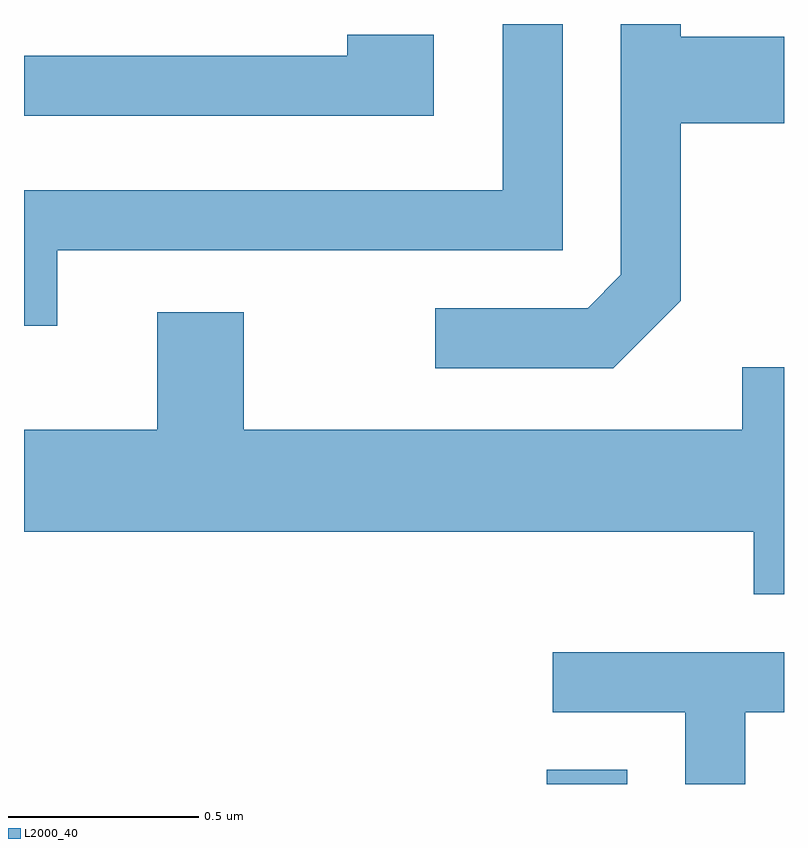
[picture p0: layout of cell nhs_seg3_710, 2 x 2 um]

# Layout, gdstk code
import gdstk
lib = gdstk.Library(unit=1e-6, precision=1e-09)
def R(c, l, rs):  # rectangles x0, y0, x1, y1
    for r in rs: c.add(gdstk.rectangle(r[:2], r[2:], *l))
def P(c, l, *ps):  # polygons
    for p in ps: c.add(gdstk.Polygon(p, *l))
L2000_40 = (2000, 40)

nhs_seg3_710 = lib.new_cell('nhs_seg3_710')
R(nhs_seg3_710, L2000_40, [(191.986,1140.892,192.199,1140.929)])
P(nhs_seg3_710, L2000_40, [(192.339,1142.164),(192.339,1142.631),(192.611,1142.631),(192.611,1142.859),(192.339,1142.859),(192.339,1142.892),(192.181,1142.892),(192.181,1142.232),(192.094,1142.144),(191.693,1142.144),(191.693,1141.986),(192.162,1141.986)],
  [(190.699,1142.296),(192.029,1142.296),(192.029,1142.892),(191.871,1142.892),(191.871,1142.454),(190.611,1142.454),(190.611,1142.098),(190.699,1142.098)],
  [(191.689,1142.864),(191.461,1142.864),(191.461,1142.809),(190.611,1142.809),(190.611,1142.651),(191.689,1142.651)],
  [(192.611,1141.989),(192.501,1141.989),(192.501,1141.824),(191.189,1141.824),(191.189,1142.134),(190.961,1142.134),(190.961,1141.824),(190.611,1141.824),(190.611,1141.556),(192.531,1141.556),(192.531,1141.391),(192.611,1141.391)],
  [(192.509,1141.081),(192.611,1141.081),(192.611,1141.239),(192.003,1141.239),(192.003,1141.081),(192.351,1141.081),(192.351,1140.892),(192.509,1140.892)])

lib.write_gds('nhs_seg3_710.gds')
